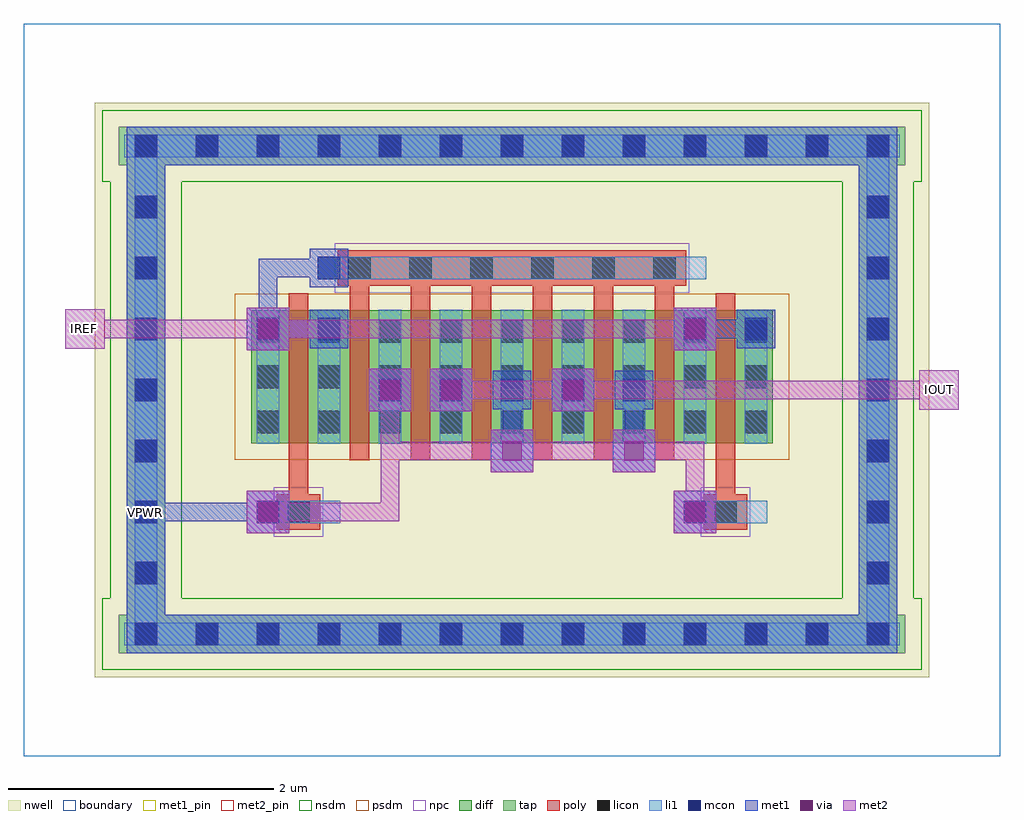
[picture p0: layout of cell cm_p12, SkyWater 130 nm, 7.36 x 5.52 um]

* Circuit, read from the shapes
.subckt cm_p12 IOUT IREF VPWR
XM1 IREF VPWR IREF VPWR sky130_fd_pr__pfet_01v8 w=1 l=0.15 m=2
XM2 VPWR IREF IREF VPWR sky130_fd_pr__pfet_01v8 w=1 l=0.15 m=2
XM3 IOUT IREF VPWR VPWR sky130_fd_pr__pfet_01v8 w=1 l=0.15 m=4
.ends

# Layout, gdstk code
import gdstk
lib = gdstk.Library(unit=1e-6, precision=1e-09)
def R(c, l, rs):  # rectangles x0, y0, x1, y1
    for r in rs: c.add(gdstk.rectangle(r[:2], r[2:], *l))
def A(c, l, x, y, w, h, nx, ny, dx, dy):  # array of equal rectangles
    R(c, l, [(x+i*dx, y+j*dy, x+i*dx+w, y+j*dy+h) for i in range(nx) for j in range(ny)])
nwell = (64, 20)
diff = (65, 20)
tap = (65, 44)
poly = (66, 20)
licon = (66, 44)
li1 = (67, 20)
mcon = (67, 44)
met1_pin = (68, 16)
met1 = (68, 20)
via = (68, 44)
met2_pin = (69, 16)
met2 = (69, 20)
nsdm = (93, 44)
psdm = (94, 20)
npc = (95, 20)
boundary = (235, 4)

cm_p12 = lib.new_cell('cm_p12')
R(cm_p12, nwell, [(0.535,0.595,6.825,4.925)])
R(cm_p12, diff, [(1.715,2.36,5.645,3.36)])
R(cm_p12, tap, [(0.715,0.775,6.645,1.065), (0.775,0.775,1.065,4.745), (6.295,0.775,6.585,4.745), (0.715,4.455,6.645,4.745)])
A(cm_p12, poly, 2.455, 2.23, 0.15, 1.45, 6, 1, 0.46, 0)
R(cm_p12, poly, [(1.905,1.705,2.235,1.975), (5.125,1.705,5.455,1.975), (1.995,1.84,2.145,3.49), (5.215,1.84,5.365,3.49), (2.365,3.545,4.995,3.815)])
A(cm_p12, licon, 0.835, 0.835, 0.17, 0.17, 13, 2, 0.46, 3.68)
A(cm_p12, licon, 0.835, 1.295, 0.17, 0.17, 1, 7, 0, 0.46)
A(cm_p12, licon, 6.355, 1.295, 0.17, 0.17, 1, 7, 0, 0.46)
A(cm_p12, licon, 1.755, 2.435, 0.17, 0.17, 9, 3, 0.46, 0.34)
A(cm_p12, licon, 2.445, 3.595, 0.17, 0.17, 6, 1, 0.46, 0)
R(cm_p12, licon, [(1.985,1.755,2.155,1.925), (5.205,1.755,5.375,1.925)])
A(cm_p12, li1, 1.755, 2.355, 0.17, 1.01, 9, 1, 0.46, 0)
R(cm_p12, li1, [(0.755,0.835,6.605,1.005), (0.835,0.835,1.005,4.685), (6.355,0.835,6.525,4.685), (1.755,1.755,2.385,1.925), (4.975,1.755,5.605,1.925), (2.215,3.595,5.145,3.765), (0.755,4.515,6.605,4.685)])
A(cm_p12, mcon, 0.835, 0.835, 0.17, 0.17, 13, 2, 0.46, 3.68)
A(cm_p12, mcon, 0.835, 1.295, 0.17, 0.17, 1, 7, 0, 0.46)
A(cm_p12, mcon, 6.355, 1.295, 0.17, 0.17, 1, 7, 0, 0.46)
A(cm_p12, mcon, 2.675, 2.675, 0.17, 0.17, 5, 1, 0.46, 0)
R(cm_p12, mcon, [(1.755,1.755,1.925,1.925), (4.975,1.755,5.145,1.925), (1.755,3.135,1.925,3.305), (2.215,3.135,2.385,3.305), (4.975,3.135,5.145,3.305), (5.435,3.135,5.605,3.305), (2.215,3.595,2.385,3.765)])
R(cm_p12, met1_pin, [(0.85,1.77,0.99,1.91)])
A(cm_p12, met1, 2.615, 2.615, 0.29, 0.29, 5, 1, 0.46, 0)
R(cm_p12, met1, [(0.775,0.775,6.585,1.065), (0.775,0.775,1.065,4.745), (6.295,0.775,6.585,4.745), (1.68,1.68,2,2), (4.9,1.68,5.22,2), (1.695,1.695,1.985,1.985), (4.915,1.695,5.205,1.985), (0.85,1.77,0.99,1.91), (0.85,1.77,1.91,1.91), (0.85,1.77,0.99,4.67), (3.52,2.14,3.84,2.46), (4.44,2.14,4.76,2.46), (3.61,2.23,3.75,2.83), (4.53,2.23,4.67,2.83), (2.6,2.6,2.92,2.92), (3.06,2.6,3.38,2.92), (3.98,2.6,4.3,2.92), (1.68,3.06,2,3.38), (4.9,3.06,5.22,3.38), (1.695,3.075,1.985,3.365), (2.155,3.075,2.445,3.365), (4.915,3.075,5.205,3.365), (5.375,3.075,5.665,3.365), (1.77,3.15,1.91,3.75), (1.77,3.15,2.37,3.29), (4.99,3.15,5.59,3.29), (2.155,3.535,2.445,3.825), (1.77,3.61,2.37,3.75), (0.775,4.455,6.585,4.745), (0.85,4.53,0.99,4.67)])
R(cm_p12, via, [(1.765,1.765,1.915,1.915), (4.985,1.765,5.135,1.915), (3.605,2.225,3.755,2.375), (4.525,2.225,4.675,2.375), (2.685,2.685,2.835,2.835), (3.145,2.685,3.295,2.835), (4.065,2.685,4.215,2.835), (1.765,3.145,1.915,3.295), (4.985,3.145,5.135,3.295)])
R(cm_p12, met2_pin, [(6.75,2.61,7.05,2.91), (0.31,3.07,0.61,3.37)])
R(cm_p12, met2, [(1.68,1.68,2,2), (4.9,1.68,5.22,2), (1.77,1.77,2.83,1.91), (2.69,1.77,2.83,2.83), (4.99,1.77,5.13,2.37), (3.52,2.14,3.84,2.46), (4.44,2.14,4.76,2.46), (2.69,2.23,3.75,2.37), (3.61,2.23,5.13,2.37), (2.6,2.6,2.92,2.92), (3.06,2.6,3.38,2.92), (3.98,2.6,4.3,2.92), (6.75,2.61,7.05,2.91), (3.15,2.69,4.21,2.83), (4.07,2.69,6.97,2.83), (6.83,2.69,6.97,2.83), (1.68,3.06,2,3.38), (4.9,3.06,5.22,3.38), (0.31,3.07,0.61,3.37), (0.39,3.15,0.53,3.29), (0.39,3.15,1.91,3.29), (1.77,3.15,5.13,3.29)])
R(cm_p12, nsdm, [(0.59,0.65,6.77,1.19), (0.65,1.19,1.19,4.33), (6.17,1.19,6.71,4.33), (0.59,4.33,6.77,4.87)])
R(cm_p12, psdm, [(1.59,2.235,5.77,3.485)])
R(cm_p12, npc, [(1.885,1.655,2.255,2.025), (5.105,1.655,5.475,2.025), (2.345,3.495,5.015,3.865)])
R(cm_p12, boundary, [(0,0,7.36,5.52)])
cm_p12.add(gdstk.Label('VPWR', (0.92,1.84), layer=68, texttype=5))
cm_p12.add(gdstk.Label('IREF', (0.46,3.22), layer=69, texttype=5))
cm_p12.add(gdstk.Label('IOUT', (6.9,2.76), layer=69, texttype=5))
cm_p12.add(gdstk.Label('VPWR', (0.92,1.84), layer=68, texttype=16))
cm_p12.add(gdstk.Label('IREF', (0.46,3.22), layer=69, texttype=16))
cm_p12.add(gdstk.Label('IOUT', (6.9,2.76), layer=69, texttype=16))

lib.write_gds('cm_p12.gds')
